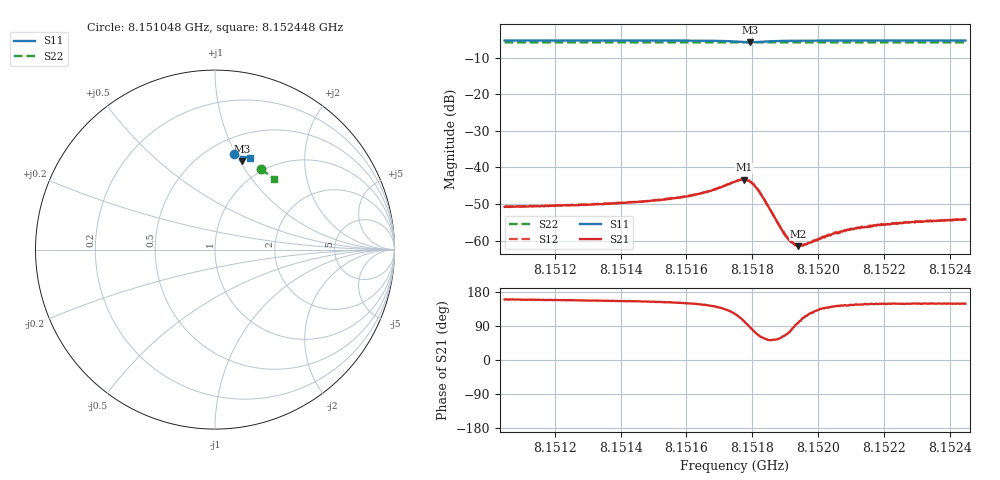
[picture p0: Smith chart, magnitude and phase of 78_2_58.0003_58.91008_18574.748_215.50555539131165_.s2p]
#  HZ  S  RI  R  50.00
! Rohde & Schwarz Vector Network Analyzer
! Rohde-Schwarz,ZNB20-2Port,1311601062101988,3.16
! Created: UTC 3/21/2024, 12:53:47 AM
! freq[Hz]  re:S11  im:S11  re:S21  im:S21  re:S12  im:S12  re:S22  im:S22
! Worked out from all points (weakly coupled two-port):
!   401 points, 8.151048 GHz to 8.152448 GHz, reference 50 ohm
!   highest |S21| = -43.34 dB at 8.151776 GHz (marker M1); lowest = -61.5 dB at 8.15194 GHz (marker M2)
!   lowest |S11| = -5.8 dB at 8.151793 GHz (marker M3), VSWR 3.12, Z = 38 + j51 ohm
!   |S11| at or under -10 dB: nowhere
!   |S22| runs from -5.8 to -5.8 dB; largest |S21 - S12| = 0.00015
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8.1510476e9  0.1074 0.5322  -0.00271 0.001  -0.00273 0.00105  0.2545 0.4468
8.1512821e9  0.1244 0.5288  -0.00286 0.00119  -0.00285 0.00126  0.2677 0.4388
8.1515167e9  0.1425 0.5238  -0.00318 0.00162  -0.0032 0.00168  0.2801 0.4305
8.1516392e9  0.1538 0.5188  -0.00366 0.00238  -0.00364 0.00246  0.2869 0.4259
8.1516812e9  0.1584 0.5154  -0.00387 0.00302  -0.00384 0.00311  0.2891 0.4243
8.1517477e9  0.1629 0.502  -0.00337 0.00543  -0.0033 0.00554  0.2924 0.4212
8.1517757e9  0.1567 0.494  -0.00141 0.00666  -0.00135 0.00669  0.2934 0.4201
8.1517932e9  0.1489 0.493  0.000379 0.00637  0.000507 0.00645  0.294 0.4195
8.1518072e9  0.1434 0.4963  0.00153 0.00541  0.00159 0.00546  0.2944 0.4194
8.1518247e9  0.1405 0.5027  0.00209 0.00389  0.00217 0.00391  0.2954 0.4188
8.1518877e9  0.1482 0.5157  0.000749 0.00125  0.000784 0.00124  0.2989 0.4168
8.1519052e9  0.1511 0.5168  0.000416 0.00103  0.000416 0.00104  0.2999 0.4164
8.1519227e9  0.1535 0.5173  9.6e-05 0.000923  0.000102 0.00092  0.3009 0.4155
8.1519402e9  0.1558 0.5177  -0.000124 0.000829  -0.000132 0.000848  0.3018 0.4148
8.1519612e9  0.1583 0.5177  -0.000386 0.000792  -0.000373 0.000815  0.3029 0.4141
8.1519822e9  0.1605 0.5175  -0.000536 0.000801  -0.000554 0.000783  0.304 0.4132
8.1520487e9  0.1669 0.5167  -0.000986 0.000779  -0.000982 0.000781  0.3075 0.4106
8.1520907e9  0.1705 0.516  -0.00114 0.00083  -0.00115 0.000818  0.3097 0.4088
8.1521398e9  0.1746 0.5151  -0.00127 0.000836  -0.0013 0.000866  0.312 0.4069
8.1522168e9  0.1803 0.5133  -0.00141 0.000866  -0.00145 0.000891  0.316 0.4038
8.1522903e9  0.1858 0.5117  -0.00155 0.000913  -0.00153 0.000948  0.3196 0.4008
8.1524478e9  0.1967 0.508  -0.00166 0.00101  -0.00163 0.00104  0.3275 0.3943
